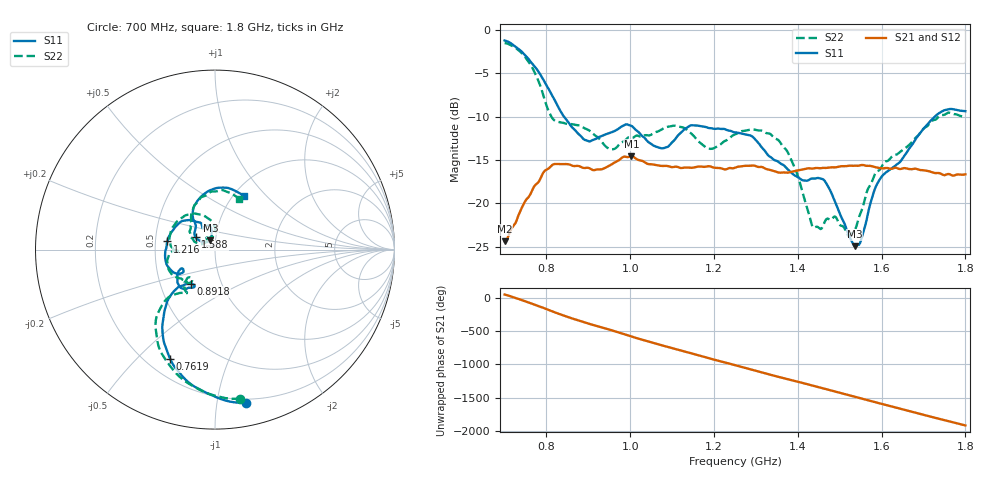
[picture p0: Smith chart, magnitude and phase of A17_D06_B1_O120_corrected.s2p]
! Created with skrf 1.9.0 (http://scikit-rf.org).
# Hz S RI R 50.0
!freq ReS11 ImS11 ReS21 ImS21 ReS12 ImS12 ReS22 ImS22
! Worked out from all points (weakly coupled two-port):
!   1601 points, 700 MHz to 1.8 GHz, reference 50 ohm
!   highest |S21| = -14.56 dB at 1.002 GHz (marker M1); lowest = -24.4 dB at 700.7 MHz (marker M2)
!   lowest |S11| = -24.9 dB at 1.536 GHz (marker M3), VSWR 1.12, Z = 47.3 + j4.81 ohm
!   |S11| at or under -10 dB: 842 MHz to 1.727 GHz (884.6 MHz wide, 68.9 % of centre)
!   |S22| runs from -23.7 to -1.5 dB; largest |S21 - S12| = 0.0034
!   S11 on the Smith chart (normalised r, x): 700 MHz: 0.17, -1.21; 761.9 MHz: 0.29, -0.63; 891.8 MHz: 0.72, -0.29; 1.216 GHz: 0.58, +0.06; 1.588 GHz: 0.80, +0.11; 1.8 GHz: 1.11, +0.76
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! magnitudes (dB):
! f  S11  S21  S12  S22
! 700 MHz  -1.2  -24.4  -24.2  -1.5
! 700.7 MHz  -1.2  -24.4  -24.1  -1.5
! 761.9 MHz  -3.6  -18.9  -18.8  -4.0
! 815.5 MHz  -7.7  -15.5  -15.6  -10.3
! 883.6 MHz  -12.3  -15.8  -15.7  -11.1
! 891.8 MHz  -12.7  -15.9  -15.9  -11.3
! 953 MHz  -11.8  -15.6  -15.6  -13.7
! 1.002 GHz  -11.0  -14.6  -14.7  -12.4
! 1.067 GHz  -13.5  -15.6  -15.6  -11.7
! 1.144 GHz  -11.0  -15.9  -15.9  -11.9
! 1.216 GHz  -11.4  -15.9  -15.9  -13.2
! 1.25 GHz  -11.8  -15.9  -15.8  -12.0
! 1.356 GHz  -15.3  -16.4  -16.4  -12.8
! 1.394 GHz  -16.8  -16.2  -16.2  -16.1
! 1.434 GHz  -17.1  -16.0  -15.9  -22.5
! 1.467 GHz  -17.6  -15.9  -15.9  -21.9
! 1.536 GHz  -24.9  -15.6  -15.7  -23.1
! 1.551 GHz  -24.2  -15.6  -15.6  -20.9
! 1.588 GHz  -17.9  -15.8  -15.8  -16.3
! 1.617 GHz  -16.2  -15.9  -15.9  -15.0
! 1.734 GHz  -9.7  -16.5  -16.5  -10.1
! 1.8 GHz  -9.4  -16.6  -16.6  -10.0
